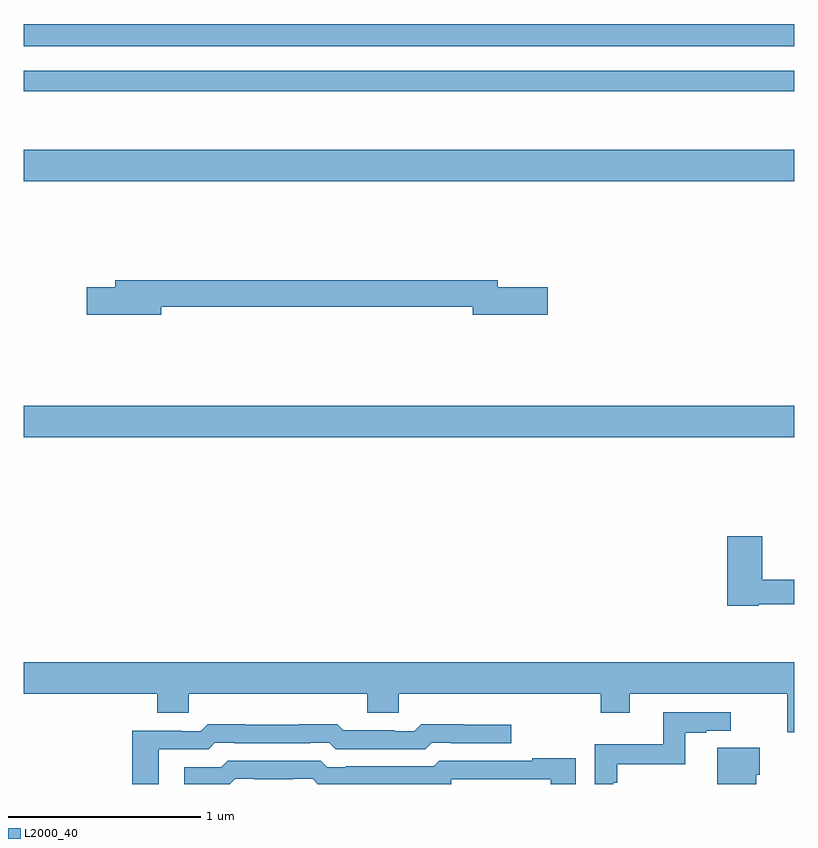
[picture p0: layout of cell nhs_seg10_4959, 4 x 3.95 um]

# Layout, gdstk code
import gdstk
lib = gdstk.Library(unit=1e-6, precision=1e-09)
def R(c, l, rs):  # rectangles x0, y0, x1, y1
    for r in rs: c.add(gdstk.rectangle(r[:2], r[2:], *l))
def P(c, l, *ps):  # polygons
    for p in ps: c.add(gdstk.Polygon(p, *l))
L2000_40 = (2000, 40)

nhs_seg10_4959 = lib.new_cell('nhs_seg10_4959')
R(nhs_seg10_4959, L2000_40, [(397,1316.3,401,1316.464), (397,1317.632,401,1317.796), (397,1318.098,401,1318.206), (397,1318.332,401,1318.448)])
P(nhs_seg10_4959, L2000_40, [(397.714,1316.98),(399.332,1316.98),(399.332,1316.938),(399.721,1316.938),(399.721,1317.08),(399.46,1317.08),(399.46,1317.116),(397.475,1317.116),(397.475,1317.08),(397.326,1317.08),(397.326,1316.938),(397.714,1316.938)],
  [(400.818,1315.434),(401,1315.434),(401,1315.562),(400.835,1315.562),(400.835,1315.786),(400.652,1315.786),(400.652,1315.426),(400.818,1315.426)],
  [(401,1315.132),(397,1315.132),(397,1314.968),(397.691,1314.968),(397.691,1314.869),(397.856,1314.869),(397.856,1314.968),(398.783,1314.968),(398.783,1314.869),(398.948,1314.869),(398.948,1314.968),(399.995,1314.968),(399.995,1314.869),(400.147,1314.869),(400.147,1314.968),(400.966,1314.968),(400.966,1314.768),(401,1314.768)],
  [(400.062,1314.506),(400.082,1314.506),(400.082,1314.602),(400.435,1314.602),(400.435,1314.765),(400.545,1314.765),(400.545,1314.777),(400.672,1314.777),(400.672,1314.873),(400.322,1314.873),(400.322,1314.706),(399.966,1314.706),(399.966,1314.5),(400.062,1314.5)],
  [(397.699,1314.681),(397.959,1314.681),(397.992,1314.714),(398.092,1314.714),(398.092,1314.711),(398.486,1314.711),(398.486,1314.714),(398.586,1314.714),(398.619,1314.681),(399.084,1314.681),(399.117,1314.714),(399.217,1314.714),(399.217,1314.711),(399.532,1314.711),(399.532,1314.808),(399.288,1314.808),(399.288,1314.811),(399.064,1314.811),(399.027,1314.774),(398.927,1314.774),(398.927,1314.778),(398.659,1314.778),(398.627,1314.811),(398.428,1314.811),(398.428,1314.808),(398.15,1314.808),(398.15,1314.811),(397.955,1314.811),(397.919,1314.774),(397.82,1314.774),(397.82,1314.777),(397.562,1314.777),(397.562,1314.5),(397.699,1314.5)],
  [(400.804,1314.549),(400.822,1314.549),(400.822,1314.688),(400.601,1314.688),(400.601,1314.5),(400.804,1314.5)],
  [(398.097,1314.528),(398.197,1314.528),(398.197,1314.525),(398.399,1314.525),(398.399,1314.528),(398.499,1314.528),(398.527,1314.5),(399.219,1314.5),(399.219,1314.525),(399.737,1314.525),(399.737,1314.5),(399.865,1314.5),(399.865,1314.634),(399.641,1314.634),(399.641,1314.621),(399.158,1314.621),(399.129,1314.592),(398.671,1314.592),(398.671,1314.588),(398.575,1314.588),(398.542,1314.621),(398.058,1314.621),(398.025,1314.588),(397.833,1314.588),(397.833,1314.5),(398.069,1314.5)])

lib.write_gds('nhs_seg10_4959.gds')
